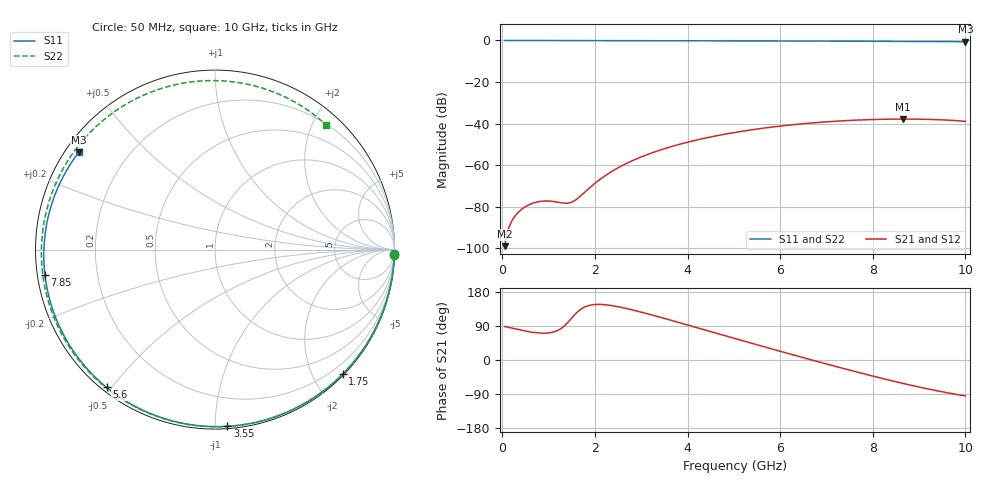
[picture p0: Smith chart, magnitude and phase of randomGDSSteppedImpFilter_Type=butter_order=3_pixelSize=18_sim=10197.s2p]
! freq	dB(S11)	phase(S11)	dB(S12)	phase(S12)
!  dB(S21)	phase(S21)	dB(S22)	phase(S22)
!S-par simulation data
#  GHz  S  DB  R 50
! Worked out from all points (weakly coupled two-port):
!   200 points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, 50 MHz to 10 GHz, reference 50 ohm
!   highest |S21| = -37.83 dB at 8.65 GHz (marker M1); lowest = -99.0 dB at 50 MHz (marker M2)
!   lowest |S11| = -0.6 dB at 10 GHz (marker M3), VSWR 28.70, Z = 1.92 + j16 ohm
!   |S11| at or under -10 dB: nowhere
!   |S22| runs from -0.6 to 0.0 dB; largest |S21 - S12| = 0
!   S11 on the Smith chart (normalised r, x): 50 MHz: 0, -88; 1.75 GHz: 0.02, -2.46; 3.55 GHz: 0.01, -1.07; 5.6 GHz: 0.01, -0.49; 7.85 GHz: 0.02, -0.07; 10 GHz: 0.04, +0.32
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0.05  -0.00 -1.3  -98.99 88.4  -98.99 88.4  -0.00 -1.7
0.5  -0.02 -12.9  -79.98 76.4  -79.98 76.4  -0.02 -16.6
0.9  -0.03 -23.1  -77.29 70.8  -77.29 70.8  -0.04 -29.7
1.45  -0.05 -36.9  -78.16 103.9  -78.16 103.9  -0.06 -47.4
1.6  -0.05 -40.6  -76.50 124.2  -76.50 124.2  -0.07 -52.1
1.75  -0.06 -44.3  -73.64 138.0  -73.64 138.0  -0.07 -56.8
2.1  -0.07 -52.7  -67.01 146.7  -67.01 146.7  -0.08 -67.7
2.45  -0.08 -61.0  -61.92 141.7  -61.92 141.7  -0.10 -78.3
2.9  -0.09 -71.5  -56.97 129.4  -56.97 129.4  -0.11 -91.6
3.4  -0.11 -82.7  -52.80 113.1  -52.80 113.1  -0.13 -106.1
3.55  -0.11 -86.0  -51.74 108.0  -51.74 108.0  -0.14 -110.3
4.25  -0.14 -100.9  -47.63 83.7  -47.63 83.7  -0.17 -130.0
5.05  -0.17 -117.3  -44.16 55.8  -44.16 55.8  -0.22 -152.2
5.6  -0.20 -128.2  -42.32 36.8  -42.32 36.8  -0.26 -167.5
6.15  -0.24 -138.9  -40.84 18.0  -40.84 18.0  -0.30 176.8
6.7  -0.28 -149.5  -39.67 -0.6  -39.67 -0.6  -0.34 160.6
7.25  -0.32 -160.0  -38.79 -18.7  -38.79 -18.7  -0.39 143.8
7.85  -0.37 -171.6  -38.16 -37.8  -38.16 -37.8  -0.44 124.4
8.35  -0.42 178.6  -37.88 -53.0  -37.88 -53.0  -0.48 107.5
8.65  -0.45 172.7  -37.83 -61.7  -37.83 -61.7  -0.51 97.1
9.3  -0.52 159.4  -38.04 -79.1  -38.04 -79.1  -0.56 73.8
10  -0.61 144.5  -38.93 -94.6  -38.93 -94.6  -0.62 48.2
